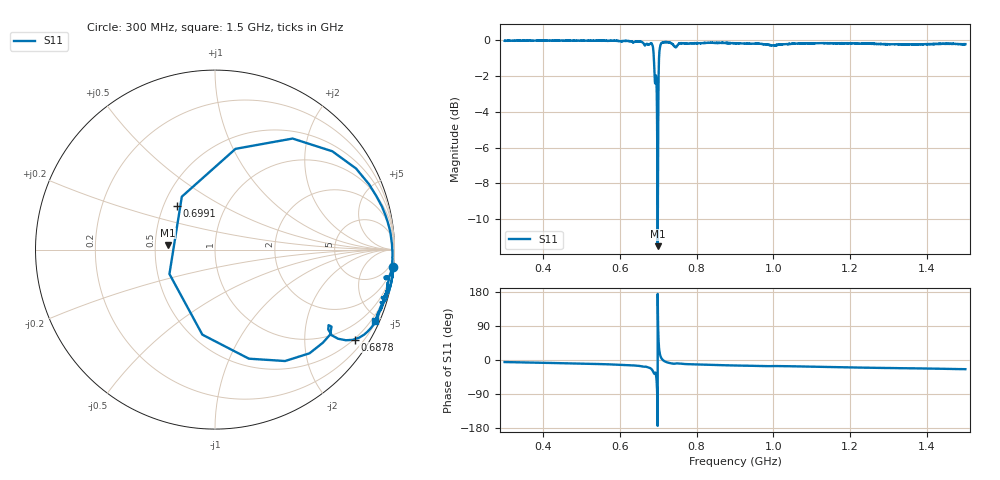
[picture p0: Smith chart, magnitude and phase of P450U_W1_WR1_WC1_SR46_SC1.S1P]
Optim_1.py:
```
# -*- coding: utf-8 -*-
"""
Created on Sun Jun  5 18:24:09 2022

@author: Mauri
"""

import numpy as np
import matplotlib.pyplot as plt
from scipy.integrate import odeint
import scipy.optimize as ot
from scipy.optimize import minimize
from scipy import optimize
from scipy.signal import find_peaks
import pandas as pd
import math
#important library to load .s2p data 
import skrf as rf

def find_nearest(array, value):
    array = np.asarray(array)
    idx = (np.abs(array - value)).argmin()
    return array[idx]

#import the data into ntwk variable
ntwk = rf.Network('/home/hedinyer/Documents/python_germany/optimization/optinization_1/P450U_W1_WR1_WC1_SR46_SC1.S1P')

#and now with the loaded data it's possible to 
#asign it into multiple variables like the frecuency and 
#the real and imag values
s_r = ntwk.y.real      #<--- only real values
s_i = ntwk.y.imag      #<--- only imag values
s_t = ntwk.y           #<--- the real and the imag values

#use reshape to fix the matrix to work with them
s_r = s_r.reshape(-1)  
s_i = s_i.reshape(-1)
s_t = s_t.reshape(-1)

s_r = np.array(s_r)
s_i = np.array(s_i)
s_t = np.array(s_t)

f = ntwk.f  #<--- Only the frecuency


#plot all the data (it's ok, not the same as matlab but ok)

ntwk.plot_z_re()
plt.show()
ntwk.plot_z_im()
plt.show()


#find peaks of signal
peak, z = find_peaks(s_t, height=0.011) #<--- with height you can take the desired peak
n = z['peak_heights']
m = f[peak]
plt.plot(f,s_t)
plt.plot(m[0], n[0], "*")
plt.plot(np.zeros_like(s_t), "--", color="green")
plt.show()

#cut the region of interes
upper_region_array =  m[0]*10/100 + m[0]
lower_region_array = -m[0]*10/100 + m[0]

upper_region_array = find_nearest(f, value=upper_region_array)
lower_region_array = find_nearest(f, value=lower_region_array)

upper_region_array = np.where(f == upper_region_array)
lower_region_array = np.where(f == lower_region_array)

upper_region_array = list(upper_region_array[0])
lower_region_array = list(lower_region_array[0])

upper_region_array = upper_region_array[0]
lower_region_array = lower_region_array[0]

iterion_numer = upper_region_array - lower_region_array
int_iterarion_number = int(iterion_numer)
int_lower_region_array = int(lower_region_array)
global cut_array
global cut_f
global freq_vect
cut_array = []
cut_f = []
for i in range (int_iterarion_number):
    cut_array.append(s_t[i + int_lower_region_array])
    cut_f.append(f[i + int_lower_region_array])
    
    

#plot the cut region

cut_f = np.array(cut_f)
cut_array = np.array(cut_array)
plt.plot(cut_f,cut_array,"*")
plt.plot(f,s_t)
plt.show()

#define the geometry of com model
geom_p        = 1.05e-6
geom_numf     = 401
geom_numgra   = 25
geom_aperture = 15.75
global geo
global x1
freq_vect = cut_f
geo = [geom_p, geom_numf, geom_numgra, geom_aperture]

#define the model
def Com_Model(x):
    M_const = 1
    atan_squishFactor = 10
    pi = math.pi
    K11        = 0;
    K12        = x[0];
    Zeta       = x[1];
    Gamma_1    = x[2];
    Gamma_2    = x[3];
    Vs         = x[4];
    R_parallel = 0.02;
    C          = x[5];
    
    p= geo[0]
    
    ResonanceEstimate = (Vs*(-K12 + pi/p))/(2*pi)
    AntiresonanceEstimate = ((Vs*(K12 + pi/p))/(2*pi))
    
    # Precalculate 
    rfl_length = p*geo[2];
    rfl_idt_gap = 0;
    idt_length = p*geo[1];
    
    
    omega = 2 * pi * freq_vect
    vref =  Vs/ (1 - (K11 * p / (M_const * pi)))
    
    gamma_freq = 0.5 * (Gamma_1 + Gamma_2) +((Gamma_2 - Gamma_1)) / pi * np.arctan(atan_squishFactor * (freq_vect - (AntiresonanceEstimate + ResonanceEstimate) / 2) / (AntiresonanceEstimate - ResonanceEstimate))

    theta_u = omega / vref - M_const * (pi / p) + K11 - 1j * gamma_freq
    
    theta_p1 = -(np.sqrt((theta_u)**2) - abs(K12)**2)
    theta_p2 = 1j * (np.sqrt(abs(K12)**2 - (theta_u)**2))
    theta_p3 = np.sqrt((theta_u)**2 - abs(K12)**2)
    
    is_theta_p1_true = (theta_u < -abs(K12))
    is_theta_p2_true = (abs(theta_u) < abs(K12))
    
    is_theta_p1_true = is_theta_p1_true.astype(int)
    is_theta_p2_true = is_theta_p2_true.astype(int)
    
    
    is_theta_p3_true = np.ones(len(is_theta_p1_true)) - is_theta_p1_true - is_theta_p2_true

    theta_p = theta_p1 * is_theta_p1_true + theta_p2 * is_theta_p2_true + theta_p3 * is_theta_p3_true
    
    gamma_plus = (theta_p - theta_u) / K12

    gamma_zero = gamma_plus
 
    exprval = np.exp(-2j * theta_p * rfl_length)
    gamma = gamma_zero * ((1 - exprval) / (1 - (gamma_zero**2) * exprval))
    
    
    BETA = 1
    gamma_t = gamma * np.exp(-2j * BETA * rfl_idt_gap)

    P1 = 1j * Zeta**2 * idt_length / (theta_u + K12)

    P2 = 2 / (theta_p * idt_length)

    P3_r = 1/np.tan(theta_p * idt_length * 0.5);

    P3_i = ((1 + gamma_t) * (1 - gamma_zero)) / ((1 - gamma_t) * (1 + gamma_zero))

    P4 = 1j * omega * C * idt_length

    P3 = P3_r + 1j * P3_i
    
    # #  COM model admittance
    Y_no_parasite= (P1 * ((P2 * P3** - 1) -1) + P4); 
    Y_total = (Y_no_parasite**(-1) + R_parallel)**(-1);
    
    ares_Z,ares_idx = max(np.log(abs(1/cut_array))), np.argmax(np.log(abs(1/cut_array)))
    res_Y,res_idx   = max(np.log(abs(cut_array)))  , np.argmax(np.log(abs(cut_array)))
    
    YZ_offset = ares_Z - res_Y
    
    YZ_win = np.zeros(len(cut_array))
    YZ_win[round((res_idx + ares_idx)/2):round((3*ares_idx)/2 - res_idx/2)] = 1
    
    
    def hybrid_log_abs_YZ(Y_in, YZ_win, YZ_offset):
        result = (np.log(abs(Y_in))*(1 - YZ_win) + (np.log(abs(1/Y_in)) - YZ_offset)*YZ_win)
        return result
    
    
    valor1 = hybrid_log_abs_YZ(Y_total, YZ_win, YZ_offset) - hybrid_log_abs_YZ(cut_array, YZ_win, YZ_offset)
    valor2 = np.log(abs((Y_total.real))) - np.log(abs(cut_array.real))
    
    valor1[np.isnan(valor1)] = 0
    valor2[np.isnan(valor2)] = 0
    
    valor1 = valor1**2
    valor2 = valor2**2
    
    result = np.concatenate((valor2, valor1))
    result = sum(result)
    
    
    return result


#define the model2
def Com_Model2(x):
    M_const = 1
    atan_squishFactor = 10
    pi = math.pi
    K11        = 0;
    K12        = x[0];
    Zeta       = x[1];
    Gamma_1    = x[2];
    Gamma_2    = x[3];
    Vs         = x[4];
    R_parallel = 0.02;
    C          = x[5];
    
    p= geo[0]
    
    ResonanceEstimate = (Vs*(-K12 + pi/p))/(2*pi)
    AntiresonanceEstimate = ((Vs*(K12 + pi/p))/(2*pi))
    
    # Precalculate 
    rfl_length = p*geo[2];
    rfl_idt_gap = 0;
    idt_length = p*geo[1];
    
    
    omega = 2 * pi * freq_vect
    vref =  Vs/ (1 - (K11 * p / (M_const * pi)))
    
    gamma_freq = 0.5 * (Gamma_1 + Gamma_2) +((Gamma_2 - Gamma_1)) / pi * np.arctan(atan_squishFactor * (freq_vect - (AntiresonanceEstimate + ResonanceEstimate) / 2) / (AntiresonanceEstimate - ResonanceEstimate))

    theta_u = omega / vref - M_const * (pi / p) + K11 - 1j * gamma_freq
    
    theta_p1 = -(np.sqrt((theta_u)**2) - abs(K12)**2)
    theta_p2 = 1j * (np.sqrt(abs(K12)**2 - (theta_u)**2))
    theta_p3 = np.sqrt((theta_u)**2 - abs(K12)**2)
    
    is_theta_p1_true = (theta_u < -abs(K12))
    is_theta_p2_true = (abs(theta_u) < abs(K12))
    
    is_theta_p1_true = is_theta_p1_true.astype(int)
    is_theta_p2_true = is_theta_p2_true.astype(int)
    
    
    is_theta_p3_true = np.ones(len(is_theta_p1_true)) - is_theta_p1_true - is_theta_p2_true

    theta_p = theta_p1 * is_theta_p1_true + theta_p2 * is_theta_p2_true + theta_p3 * is_theta_p3_true
    
    gamma_plus = (theta_p - theta_u) / K12

    gamma_zero = gamma_plus
 
    exprval = np.exp(-2j * theta_p * rfl_length)
    gamma = gamma_zero * ((1 - exprval) / (1 - (gamma_zero**2) * exprval))
    
    
    BETA = 1
    gamma_t = gamma * np.exp(-2j * BETA * rfl_idt_gap)

    P1 = 1j * Zeta**2 * idt_length / (theta_u + K12)

    P2 = 2 / (theta_p * idt_length)

    P3_r = 1/np.tan(theta_p * idt_length * 0.5);

    P3_i = ((1 + gamma_t) * (1 - gamma_zero)) / ((1 - gamma_t) * (1 + gamma_zero))

    P4 = 1j * omega * C * idt_length

    P3 = P3_r + 1j * P3_i
    
    # #  COM model admittance
    Y_no_parasite= (P1 * ((P2 * P3** - 1) -1) + P4); 
    Y_total = (Y_no_parasite**(-1) + R_parallel)**(-1);
    
    
    ##Testeo ares_z,ares_idx,res_Y,res_idx :: bien
    ares_Z,ares_idx = max(np.log(abs(1/cut_array))), np.argmax(np.log(abs(1/cut_array)))
    res_Y,res_idx   = max(np.log(abs(cut_array)))  , np.argmax(np.log(abs(cut_array)))
    ##############
    YZ_offset = ares_Z - res_Y
    
    ##Testeo YZ_win :: bien
    YZ_win = np.zeros(len(cut_array))
    YZ_win[round((res_idx + ares_idx)/2):round((3*ares_idx)/2 - res_idx/2)] = 1
    
    def hybrid_log_abs_YZ(Y_in, YZ_win, YZ_offset):
        result = (np.log(abs(Y_in))*(1 - YZ_win) + (np.log(abs(1/Y_in)) - YZ_offset)*YZ_win)
        return result
    
    
    #Testeo cost function :: bien
    valor1 = hybrid_log_abs_YZ(Y_total, YZ_win, YZ_offset) - hybrid_log_abs_YZ(cut_array, YZ_win, YZ_offset)
    valor2 = np.log(abs((Y_total.real))) - np.log(abs(cut_array.real))
    
    valor1[np.isnan(valor1)] = 0
    valor2[np.isnan(valor2)] = 0
    
    valor1 = valor1**2
    valor2 = valor2**2
    
    result = np.concatenate((valor2, valor1))
    result = sum(result)
    
    
    
    return result


#define the model 3
def Com_Model3(x):
    M_const = 1
    atan_squishFactor = 10
    pi = math.pi
    K11        = 0;
    K12        = x[0];
    Zeta       = x[1];
    Gamma_1    = x[2];
    Gamma_2    = x[3];
    Vs         = x[4];
    R_parallel = 0.02;
    C          = x[5];
    
    p= geo[0]
    
    ResonanceEstimate = (Vs*(-K12 + pi/p))/(2*pi)
    AntiresonanceEstimate = ((Vs*(K12 + pi/p))/(2*pi))
    
    # Precalculate 
    rfl_length = p*geo[2];
    rfl_idt_gap = 0;
    idt_length = p*geo[1];
    
    
    omega = 2 * pi * freq_vect
    vref =  Vs/ (1 - (K11 * p / (M_const * pi)))
    
    gamma_freq = 0.5 * (Gamma_1 + Gamma_2) +((Gamma_2 - Gamma_1)) / pi * np.arctan(atan_squishFactor * (freq_vect - (AntiresonanceEstimate + ResonanceEstimate) / 2) / (AntiresonanceEstimate - ResonanceEstimate))

    theta_u = omega / vref - M_const * (pi / p) + K11 - 1j * gamma_freq
    
    theta_p1 = -(np.sqrt((theta_u)**2) - abs(K12)**2)
    theta_p2 = 1j * (np.sqrt(abs(K12)**2 - (theta_u)**2))
    theta_p3 = np.sqrt((theta_u)**2 - abs(K12)**2)
    
    is_theta_p1_true = (theta_u < -abs(K12))
    is_theta_p2_true = (abs(theta_u) < abs(K12))
    
    is_theta_p1_true = is_theta_p1_true.astype(int)
    is_theta_p2_true = is_theta_p2_true.astype(int)
    
    
    is_theta_p3_true = np.ones(len(is_theta_p1_true)) - is_theta_p1_true - is_theta_p2_true

    theta_p = theta_p1 * is_theta_p1_true + theta_p2 * is_theta_p2_true + theta_p3 * is_theta_p3_true
    
    gamma_plus = (theta_p - theta_u) / K12

    gamma_zero = gamma_plus
 
    exprval = np.exp(-2j * theta_p * rfl_length)
    gamma = gamma_zero * ((1 - exprval) / (1 - (gamma_zero**2) * exprval))
    
    
    BETA = 1
    gamma_t = gamma * np.exp(-2j * BETA * rfl_idt_gap)

    P1 = 1j * Zeta**2 * idt_length / (theta_u + K12)

    P2 = 2 / (theta_p * idt_length)

    P3_r = 1/np.tan(theta_p * idt_length * 0.5);

    P3_i = ((1 + gamma_t) * (1 - gamma_zero)) / ((1 - gamma_t) * (1 + gamma_zero))

    P4 = 1j * omega * C * idt_length

    P3 = P3_r + 1j * P3_i
    
    # #  COM model admittance
    Y_no_parasite= (P1 * ((P2 * P3** - 1) -1) + P4); 
    Y_total = (Y_no_parasite**(-1) + R_parallel)**(-1);
    
    
    
    return Y_total




# # Bounds for the 2 principal models
# bnds = ((0.1, 200000), (0.1, 20000), (0.1,1000), (0.1,10000), (0.1,8000) ,(1e-15,1e-2))
# #first x0
# x0 = [0.1,0.1,0.1,0.1,0.1,1e-15]    
# #train the first model
# res = minimize(Com_Model,x0,method='Nelder-Mead', tol=1e-6, bounds=(bnds))


# #init guess from matlab
# K11 = 2000;
# K12 = 120000;
# Zeta = 3500; 
# Gamma_1 = 3;
# Gamma_2 = 500;
# Vs = 3700;
# R_ser = 0.2;
# C = 1e-08;

# #second x0
# x1 = np.array([K12,Zeta,Gamma_1,Gamma_2,Vs,C])
# #train the second model
# res2 = minimize(Com_Model,x1,method='Nelder-Mead', tol=1e-6, bounds=(bnds))


# #train the 3rd model with res2.x as 3rd x0
# res3 = minimize(Com_Model,res2.x,method='Nelder-Mead', tol=1e-6, bounds=(bnds))



# #2nd init guess from spyder
# x1 = [1.00062336e-01, 5.58699044e+02, 8.64847759e-01, 1.00000000e-01,1.46675679e+03, 1.10322681e-09]
# res4 = minimize(Com_Model,x1,method='Nelder-Mead', tol=1e-6, bounds=(bnds))





# #get the x's values from each component excluding R
# valores = Com_Model2(res.x)
# valores2 = Com_Model2(res3.x)
# valores3 = Com_Model2(res4.x)


# print("1:values = "+str(valores)+"\n", "2:values = "+str(valores2)+"\n", "3:values = "+str(valores3)+"\n")



# vector = Com_Model3(res.x)



plt.plot(cu,cut_array.imag)
plt.plot(vector.imag,"--")
plt.legend(["Exp","Sym"])
plt.show()



plt.plot(cut_array.real)
plt.plot(vector.real,"--")
plt.legend(["Exp","Sym"])
plt.show()
```
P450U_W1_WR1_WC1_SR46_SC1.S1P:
#  HZ  S  RI  R  50.00
! Rohde & Schwarz Vector Network Analyzer
! Rohde-Schwarz,ZNB8-4Port,1311601044103452,2.94
! Created: UTC 2/23/2022, 10:45:34 AM
! freq[Hz]  re:S11  im:S11
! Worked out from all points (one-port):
!   12001 points, 300 MHz to 1.5 GHz, reference 50 ohm
!   lowest |S11| = -11.5 dB at 698.7 MHz (marker M1), VSWR 1.72, Z = 29 + j1.64 ohm
!   |S11| at or under -10 dB: 698.2488 MHz to 699.0691 MHz (820.2 kHz wide, 0.117 % of centre)
!   S11 on the Smith chart (normalised r, x): 300 MHz: 0, -21; 687.8 MHz: 0.48, -3.33; 699.1 MHz: 0.59, +0.32; 1.5 GHz: 0.27, -4.65
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3e8  0.9933 -0.0947
6.488e8  0.9585 -0.2632
6.878e8  0.7776 -0.5013
6.926e8  0.6455 -0.4234
6.95e8  0.5502 -0.5624
6.987e8  -0.2645 0.0262
6.991e8  -0.2108 0.2455
7e8  0.1145 0.5614
7.048e8  0.9305 0.239
7.076e8  0.9749 0.1052
7.133e8  0.9887 -0.0197
7.712e8  0.9628 -0.184
1.1e9  0.9361 -0.2962
1.5e9  0.8906 -0.4004
